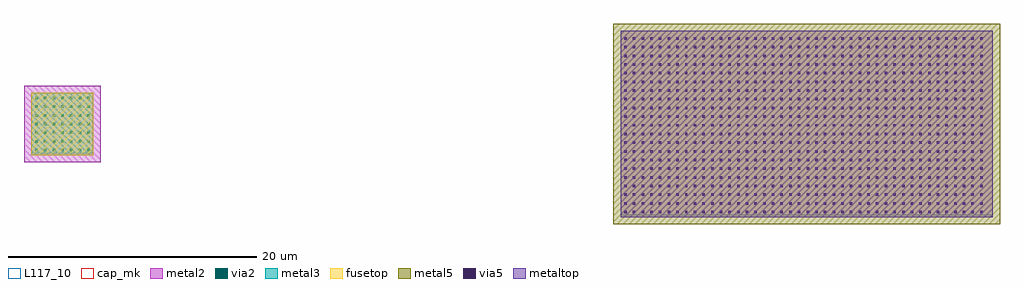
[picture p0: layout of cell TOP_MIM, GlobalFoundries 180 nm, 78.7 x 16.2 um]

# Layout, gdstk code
import gdstk
lib = gdstk.Library(unit=1e-6, precision=1e-09)
def R(c, l, rs):  # rectangles x0, y0, x1, y1
    for r in rs: c.add(gdstk.rectangle(r[:2], r[2:], *l))
def A(c, l, x, y, w, h, nx, ny, dx, dy):  # array of equal rectangles
    R(c, l, [(x+i*dx, y+j*dy, x+i*dx+w, y+j*dy+h) for i in range(nx) for j in range(ny)])
metal2 = (36, 0)
via2 = (38, 0)
metal3 = (42, 0)
metaltop = (53, 0)
fusetop = (75, 0)
metal5 = (81, 0)
via5 = (82, 0)
cap_mk = (117, 5)
L117_10 = (117, 10)

mim_a_5x5 = lib.new_cell('MIM_A_5x5')
R(mim_a_5x5, metal2, [(-3.1,-3.1,3.1,3.1)])
A(mim_a_5x5, via2, -2.2, -2.2, 0.2, 0.2, 7, 7, 0.7, 0.7)
R(mim_a_5x5, metal3, [(-2.5,-2.5,2.5,2.5)])
R(mim_a_5x5, fusetop, [(-2.5,-2.5,2.5,2.5)])
R(mim_a_5x5, cap_mk, [(-3.1,-3.1,3.1,3.1)])
R(mim_a_5x5, L117_10, [(-2.5,-2.5,2.5,-2.3)])

mim_b_30x15 = lib.new_cell('MIM_B_30x15')
R(mim_b_30x15, metaltop, [(-15,-7.5,15,7.5)])
R(mim_b_30x15, fusetop, [(-15,-7.5,15,7.5)])
R(mim_b_30x15, metal5, [(-15.6,-8.1,15.6,8.1)])
A(mim_b_30x15, via5, -14.7, -7.2, 0.2, 0.2, 42, 21, 0.7, 0.7)
R(mim_b_30x15, cap_mk, [(-15.6,-8.1,15.6,8.1)])
R(mim_b_30x15, L117_10, [(-15,-7.5,15,-7.3)])

top_mim = lib.new_cell('TOP_MIM')
top_mim.add(gdstk.Reference(mim_a_5x5, (0,0)))
top_mim.add(gdstk.Reference(mim_b_30x15, (60,0)))

lib.write_gds('TOP_MIM.gds')
